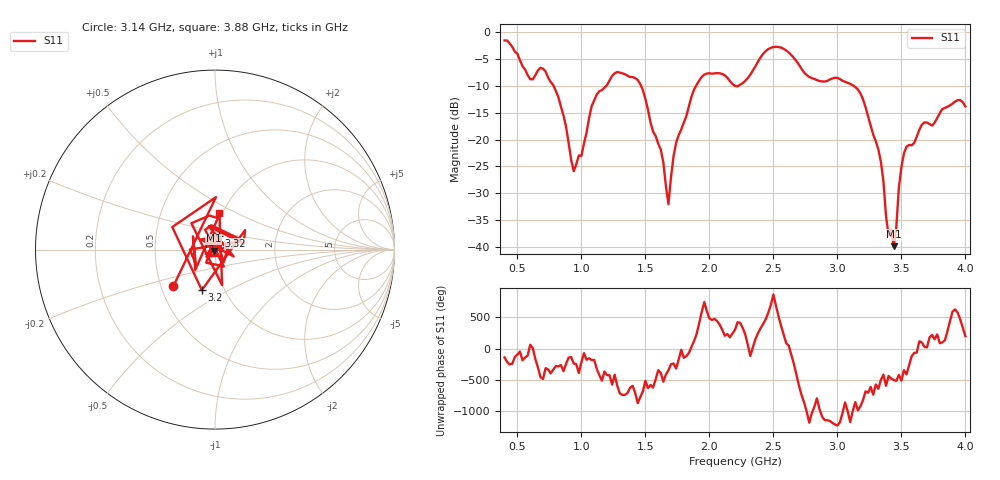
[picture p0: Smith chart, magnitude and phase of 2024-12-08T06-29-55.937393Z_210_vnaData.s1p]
!Created with skrf (http://scikit-rf.org).
# Hz S RI R 50.0
!freq ReS11 ImS11
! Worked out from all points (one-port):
!   181 points, 400 MHz to 4 GHz, reference 50 ohm
!   lowest |S11| = -39.9 dB at 3.44 GHz (marker M1), VSWR 1.02, Z = 49.2 - j0.581 ohm
!   |S11| at or under -10 dB: 782.9 MHz to 1.194 GHz (410.9 MHz wide, 41.6 % of centre); 1.466 GHz to 1.896 GHz (429.6 MHz wide, 25.6 % of centre); 3.127 GHz to end of sweep (the widest 3 of 4)
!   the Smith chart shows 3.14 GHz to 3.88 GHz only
!   S11 on the Smith chart (normalised r, x): 3.14 GHz: 0.58, -0.26; 3.2 GHz: 0.78, -0.38; 3.32 GHz: 1.03, +0.16; 3.88 GHz: 0.96, +0.42
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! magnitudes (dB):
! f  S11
! 400 MHz  -1.5
! 600 MHz  -8.7
! 720 MHz  -7.3
! 860 MHz  -15.5
! 940 MHz  -25.9
! 1.12 GHz  -11.6
! 1.3 GHz  -7.5
! 1.48 GHz  -10.8
! 1.62 GHz  -21.8
! 1.68 GHz  -32.1
! 1.72 GHz  -23.1
! 1.76 GHz  -19.2
! 1.96 GHz  -7.9
! 2.2 GHz  -10.0
! 2.48 GHz  -2.9
! 2.66 GHz  -4.8
! 2.78 GHz  -8.3
! 3.1 GHz  -9.6
! 3.14 GHz  -10.2
! 3.2 GHz  -12.5
! 3.32 GHz  -21.8
! 3.4 GHz  -37.8
! 3.42 GHz  -36.8
! 3.44 GHz  -39.9
! 3.5 GHz  -25.1
! 3.56 GHz  -21.0
! 3.88 GHz  -13.6
! 4 GHz  -13.8
